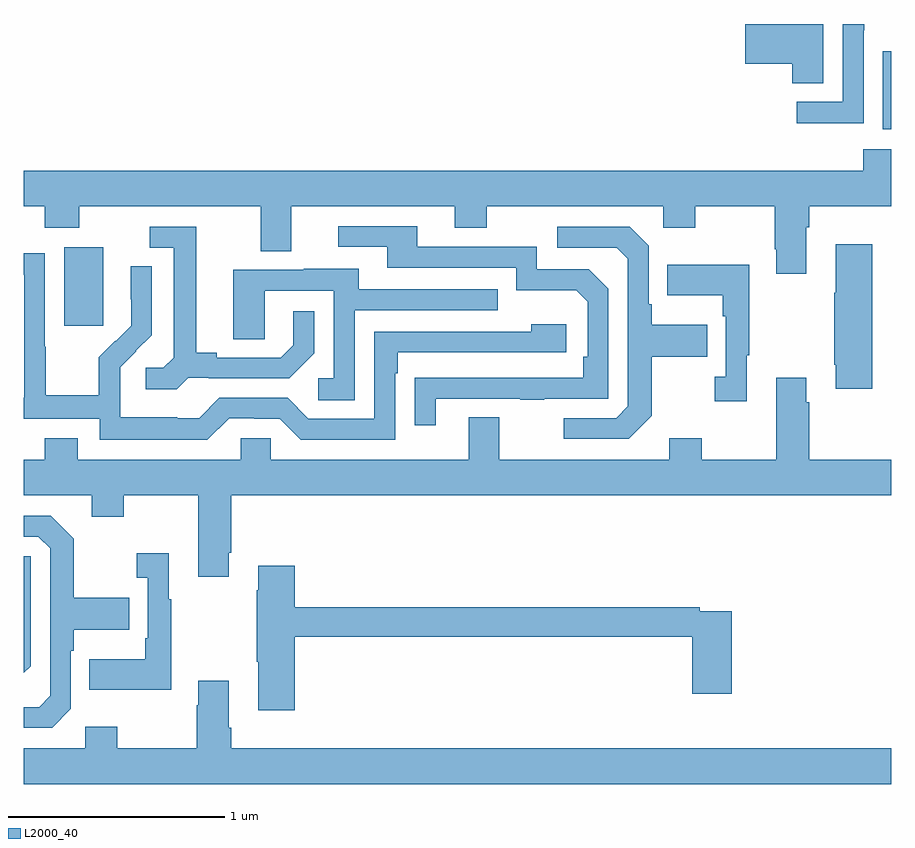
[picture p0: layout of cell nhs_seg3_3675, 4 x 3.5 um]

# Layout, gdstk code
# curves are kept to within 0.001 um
import gdstk
lib = gdstk.Library(unit=1e-6, precision=1e-09)
def R(c, l, rs):  # rectangles x0, y0, x1, y1
    for r in rs: c.add(gdstk.rectangle(r[:2], r[2:], *l))
def P(c, l, *ps):  # polygons
    for p in ps: c.add(gdstk.Polygon(p, *l))
L2000_40 = (2000, 40)

nhs_seg3_3675 = lib.new_cell('nhs_seg3_3675')
R(nhs_seg3_3675, L2000_40, [(301.187,723.009,301.366,723.37), (304.961,723.914,305,724.275)])
P(nhs_seg3_3675, L2000_40, [(304.872,724.372),(304.875,724.372),(304.875,724.4),(304.776,724.4),(304.776,724.041),(304.563,724.041),(304.563,723.943),(304.872,723.943)],
  [(304.687,724.4),(304.326,724.4),(304.326,724.217),(304.544,724.217),(304.544,724.126),(304.687,724.126)],
  [(301,723.56),(301.097,723.56),(301.097,723.461),(301.257,723.461),(301.257,723.56),(302.093,723.56),(302.093,723.352),(302.233,723.352),(302.233,723.56),(302.987,723.56),(302.987,723.461),(303.135,723.461),(303.135,723.56),(303.948,723.56),(303.948,723.461),(304.095,723.461),(304.095,723.56),(304.462,723.56),(304.462,723.361),(304.469,723.361),(304.469,723.249),(304.609,723.249),(304.609,723.464),(304.622,723.464),(304.622,723.56),(305,723.56),(305,723.823),(304.871,723.823),(304.871,723.724),(301,723.724)],
  [(302.899,722.673),(303.289,722.673),(303.289,722.668),(303.401,722.668),(303.401,722.673),(303.696,722.673),(303.696,723.18),(303.606,723.27),(303.366,723.27),(303.366,723.372),(302.815,723.372),(302.815,723.468),(302.451,723.468),(302.451,723.372),(302.675,723.372),(302.675,723.276),(303.27,723.276),(303.27,723.173),(303.547,723.173),(303.6,723.12),(303.6,722.866),(303.58,722.866),(303.58,722.769),(302.803,722.768),(302.803,722.55),(302.899,722.55)],
  [(301.758,722.769),(301.852,722.769),(301.852,722.766),(302.224,722.766),(302.34,722.882),(302.34,723.076),(302.243,723.076),(302.243,722.919),(302.186,722.862),(301.891,722.862),(301.891,722.885),(301.795,722.885),(301.795,723.465),(301.581,723.465),(301.581,723.369),(301.691,723.369),(301.691,722.861),(301.644,722.814),(301.563,722.814),(301.563,722.717),(301.706,722.717)],
  [(303.895,722.593),(303.895,722.866),(304.151,722.866),(304.151,723.013),(303.895,723.013),(303.895,723.109),(303.882,723.109),(303.882,723.378),(303.795,723.465),(303.459,723.465),(303.459,723.369),(303.735,723.369),(303.786,723.318),(303.786,722.637),(303.732,722.583),(303.489,722.583),(303.489,722.487),(303.789,722.487)],
  [(304.913,723.385),(304.745,723.385),(304.745,723.161),(304.738,723.161),(304.738,722.83),(304.745,722.83),(304.745,722.718),(304.913,722.718)],
  [(301.947,722.583),(302.063,722.583),(302.063,722.58),(302.181,722.58),(302.277,722.484),(302.712,722.484),(302.712,722.789),(302.725,722.789),(302.725,722.886),(303.502,722.886),(303.502,723.016),(303.341,723.016),(303.341,722.982),(302.616,722.982),(302.616,722.58),(302.313,722.58),(302.217,722.676),(301.902,722.676),(301.809,722.583),(301.709,722.583),(301.709,722.587),(301.446,722.587),(301.446,722.721),(301.444,722.721),(301.444,722.818),(301.59,722.966),(301.59,723.284),(301.494,723.284),(301.494,723.13),(301.496,723.13),(301.496,723.008),(301.425,722.937),(301.422,722.94),(301.345,722.863),(301.345,722.689),(301.101,722.689),(301.101,722.912),(301.098,722.912),(301.098,723.342),(301,723.342),(301,723.243),(301.002,723.243),(301.002,722.676),(301,722.676),(301,722.58),(301.35,722.58),(301.35,722.483),(301.847,722.483)],
  [(304.333,722.873),(304.345,722.873),(304.345,723.289),(303.967,723.289),(303.967,723.149),(304.224,723.149),(304.224,723.053),(304.236,723.053),(304.236,722.774),(304.185,722.774),(304.185,722.661),(304.333,722.661)],
  [(302.526,723.081),(303.185,723.081),(303.185,723.177),(302.545,723.177),(302.545,723.271),(302.291,723.271),(302.291,723.267),(301.967,723.267),(301.967,722.947),(302.112,722.947),(302.112,723.171),(302.43,723.171),(302.43,722.766),(302.358,722.766),(302.358,722.665),(302.526,722.665)],
  [(305,722.392),(304.622,722.392),(304.622,722.657),(304.609,722.657),(304.609,722.77),(304.469,722.77),(304.469,722.392),(304.125,722.392),(304.125,722.491),(303.977,722.491),(303.977,722.392),(303.193,722.392),(303.193,722.587),(303.053,722.587),(303.053,722.392),(302.139,722.392),(302.139,722.49),(302.001,722.49),(302.001,722.392),(301.249,722.392),(301.249,722.491),(301.097,722.491),(301.097,722.392),(301,722.392),(301,722.228),(301.313,722.228),(301.313,722.129),(301.461,722.129),(301.461,722.228),(301.805,722.228),(301.805,721.851),(301.945,721.851),(301.945,721.963),(301.958,721.963),(301.958,722.228),(305,722.228)],
  [(301.218,721.242),(301.218,721.511),(301.231,721.511),(301.231,721.607),(301.487,721.607),(301.487,721.755),(301.231,721.755),(301.231,722.027),(301.125,722.133),(301,722.133),(301,722.037),(301.068,722.037),(301.122,721.983),(301.122,721.302),(301.071,721.251),(301,721.251),(301,721.155),(301.131,721.155)],
  [(301.681,721.747),(301.669,721.747),(301.669,721.96),(301.521,721.96),(301.521,721.847),(301.572,721.847),(301.572,721.567),(301.56,721.567),(301.56,721.471),(301.303,721.471),(301.303,721.331),(301.681,721.331)],
  [(301.032,721.44),(301.032,721.947),(301,721.947),(301,721.408)],
  [(302.249,721.576),(304.082,721.576),(304.082,721.311),(304.265,721.311),(304.265,721.692),(304.118,721.692),(304.118,721.712),(302.249,721.712),(302.249,721.903),(302.081,721.903),(302.081,721.79),(302.074,721.79),(302.074,721.459),(302.081,721.459),(302.081,721.236),(302.249,721.236)],
  [(305,721.06),(301.958,721.06),(301.958,721.156),(301.945,721.156),(301.945,721.372),(301.805,721.372),(301.805,721.259),(301.798,721.259),(301.798,721.06),(301.431,721.06),(301.431,721.159),(301.284,721.159),(301.284,721.06),(301,721.06),(301,720.896),(305,720.896)])

lib.write_gds('nhs_seg3_3675.gds')
